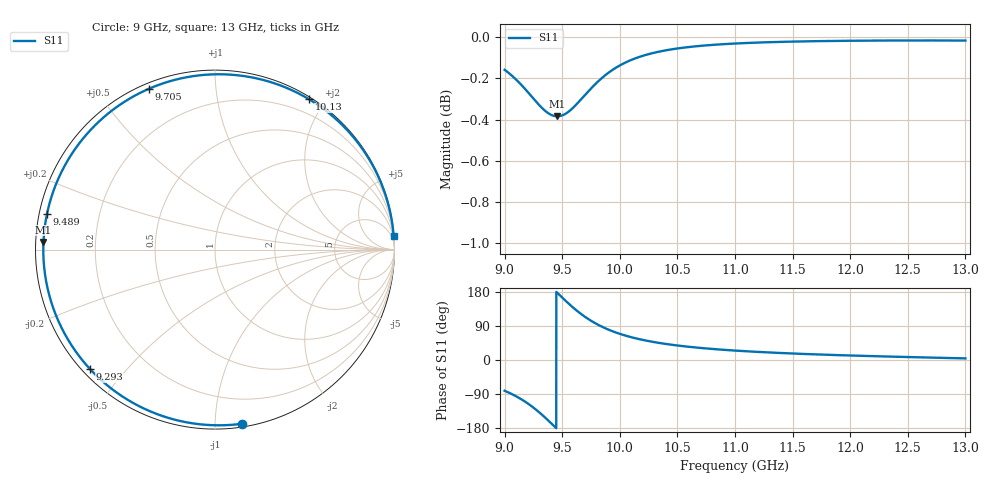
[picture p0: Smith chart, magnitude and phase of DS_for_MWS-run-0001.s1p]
! TOUCHSTONE file generated by CST DESIGN STUDIO
! Date and time: Tue Feb  4 13:23:49 2025
! Project name: C:\Work\MatlabApps\UnitCellOptimizationMatlab\CST\unitcell.cst
! Tree item: Tasks\Sweep1\SPara1\S-Parameters
! Header version: 2024
! Port assignment regex: !\s*Touchstone port\s*([0-9]+)\s*=\s*(CST MWS port|CST DES external port|CST DES block port)\s*(.+)\s* \(\"(.*)\"\)(\s*mode\s*([0-9]+))?.*
! Touchstone port assignment:
! Touchstone port 1 = CST DES external port 1 ("")
# GHz S MA R 50
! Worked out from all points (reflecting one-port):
!   4001 points, 9 GHz to 13 GHz, reference 50 ohm
!   lowest |S11| = -0.4 dB at 9.457 GHz (marker M1), VSWR 45.19, Z = 1.11 + j1.13 ohm
!   phase of S11 starts at -81 deg and turns -275 deg over the sweep
!   S11 on the Smith chart (normalised r, x): 9 GHz: 0.02, -1.17; 9.293 GHz: 0.02, -0.40; 9.489 GHz: 0.02, +0.11; 9.705 GHz: 0.02, +0.67; 10.13 GHz: 0.03, +1.81; 13 GHz: 1, +27
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9  0.9819 -81.2
9.091  0.9771 -94.3
9.164  0.9724 -107.2
9.23  0.9677 -121.0
9.293  0.9632 -136.2
9.336  0.9605 -147.6
9.381  0.9583 -160.2
9.42  0.9571 -171.6
9.457  0.9567 177.4
9.489  0.957 168.0
9.5  0.9572 164.7
9.548  0.9588 151.0
9.604  0.9619 136.0
9.654  0.9652 123.7
9.705  0.9687 112.5
9.762  0.9725 101.4
9.827  0.9765 90.6
9.911  0.9808 78.9
10  0.9843 69.0
10.128  0.9881 58.0
10.295  0.9913 47.4
10.5  0.9937 38.3
10.723  0.9953 31.2
11  0.9965 24.8
11.5  0.9976 17.1
12  0.998 11.9
12.5  0.9982 7.8
13  0.9981 4.3
